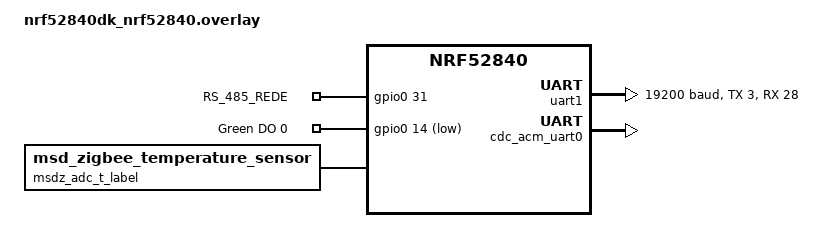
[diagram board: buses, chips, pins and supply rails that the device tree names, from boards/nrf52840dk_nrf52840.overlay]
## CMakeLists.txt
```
#
# Copyright (c) 2020 Nordic Semiconductor ASA
#
# SPDX-License-Identifier: LicenseRef-Nordic-5-Clause
#

cmake_minimum_required(VERSION 3.20.0)
#add_compile_definitions(ZB_DEV_REJOIN_TIMEOUT_MS=60000)
list(APPEND
  DTS_ROOT
  ${APPLICATION_SOURCE_DIR}
  ${BOARD_DIR}
  ${ZEPHYR_BASE}
  )

find_package(Zephyr REQUIRED HINTS $ENV{ZEPHYR_BASE})
project("Light Switch")

# NORDIC SDK APP START
FILE(GLOB app_sources src/*.c)
target_sources(app PRIVATE ${app_sources})
FILE(GLOB app_sources ../com_ws_src/*.c)
target_sources(app PRIVATE ${app_sources})
#zephyr_include_directories(src)
target_include_directories(app PRIVATE ../com_ws_src)
target_include_directories(app PRIVATE include)
target_include_directories(app PRIVATE src)
#target_include_directories(app PRIVATE ${ZEPHYR_BASE}/subsys/fs/nvs)
# NORDIC SDK APP END
```

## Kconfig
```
#
# Copyright (c) 2020 Nordic Semiconductor ASA
#
# SPDX-License-Identifier: LicenseRef-Nordic-5-Clause
#
config USB_DEVICE_PID
	default USB_PID_CDC_ACM_COMPOSITE_SAMPLE
	
menu "Zephyr Kernel"
source "Kconfig.zephyr"
endmenu

module = NUS_CMD
module-str = NUS command
source "${ZEPHYR_BASE}/subsys/logging/Kconfig.template.log_config"
```

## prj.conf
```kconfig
#
# Copyright (c) 2020 Nordic Semiconductor ASA
#
# SPDX-License-Identifier: LicenseRef-Nordic-5-Clause
#

CONFIG_NCS_SAMPLES_DEFAULTS=y

CONFIG_UART_INTERRUPT_DRIVEN=y
CONFIG_SERIAL=y
CONFIG_GPIO=y

# Make sure printk is not printing to the UART console
CONFIG_CONSOLE=n
CONFIG_UART_CONSOLE=n
CONFIG_USE_SEGGER_RTT=n
CONFIG_RTT_CONSOLE=n
CONFIG_LOG_BACKEND_RTT=n
CONFIG_LOG_BACKEND_UART=n

CONFIG_STDOUT_CONSOLE=n
CONFIG_LOG=n

CONFIG_HEAP_MEM_POOL_SIZE=4096

CONFIG_ZIGBEE=y
CONFIG_ZIGBEE_APP_UTILS=y
CONFIG_ZIGBEE_ROLE_END_DEVICE=y

# Enable DK LED and Buttons library
CONFIG_DK_LIBRARY=n

# This example requires more workqueue stack
CONFIG_SYSTEM_WORKQUEUE_STACK_SIZE=4096

# Enable nRF ECB driver
CONFIG_CRYPTO=y
CONFIG_CRYPTO_NRF_ECB=y
CONFIG_CRYPTO_INIT_PRIORITY=80

# Cryptocell is not supported through CSPRNG driver API: NCSDK-4813
CONFIG_ENTROPY_CC3XX=n

# Enable API for powering down unused RAM parts
CONFIG_RAM_POWER_DOWN_LIBRARY=y

#Networking
CONFIG_NET_IPV6_MLD=n
CONFIG_NET_IPV6_NBR_CACHE=n
CONFIG_NET_IPV6_RA_RDNSS=n
CONFIG_NET_IP_ADDR_CHECK=n
CONFIG_NET_UDP=n

#CONFIG_IEEE802154_NRF5_UICR_EUI64_ENABLE=y
#CONFIG_IEEE802154_NRF5_UICR_EUI64_REG=0

#Shell
#CONFIG_ZIGBEE_LOGGER_EP=n
#CONFIG_ZIGBEE_LOGGER_EP_LOG_LEVEL_INF=n
#CONFIG_ZIGBEE_SHELL=n
#CONFIG_ZIGBEE_SHELL_DEBUG_CMD=n

# USB project

CONFIG_NEWLIB_LIBC=y

CONFIG_SERIAL=y
CONFIG_UART_INTERRUPT_DRIVEN=y
CONFIG_UART_LINE_CTRL=n
CONFIG_UART_ASYNC_API=n

CONFIG_USB_DEVICE_STACK=y
CONFIG_USB_DEVICE_MANUFACTURER="PLUTON GROUP"
CONFIG_USB_DEVICE_PRODUCT="Temperature sensor"
CONFIG_USB_COMPOSITE_DEVICE=y
CONFIG_USB_CDC_ACM=y
CONFIG_USB_CDC_ACM_RINGBUF_SIZE=512

#CONFIG_USB_DEVICE_LOG_LEVEL_ERR=y
#CONFIG_USB_DRIVER_LOG_LEVEL_ERR=y

CONFIG_HWINFO_NRF=n

CONFIG_USB_MASS_STORAGE=y
#CONFIG_USB_MASS_STORAGE_LOG_LEVEL_ERR=y
CONFIG_MAIN_STACK_SIZE=1536

CONFIG_MASS_STORAGE_DISK_NAME="EMFAT"

#clock
CONFIG_CLOCK_CONTROL_NRF_K32SRC_SYNTH=y

#adc
CONFIG_ADC=y

#nvc
CONFIG_FLASH=y
CONFIG_FLASH_PAGE_LAYOUT=y

CONFIG_NVS=y
#CONFIG_NVS_LOG_LEVEL_DBG=n
CONFIG_REBOOT=y
CONFIG_MPU_ALLOW_FLASH_WRITE=y

#wdt
CONFIG_WATCHDOG=y
CONFIG_WDT_DISABLE_AT_BOOT=n
CONFIG_WDT_ITE_WARNING_LEADING_TIME_MS=5000
#CONFIG_WDT_LOG_LEVEL_DBG=y


CONFIG_THREAD_NAME=y

#PIN_RESET
CONFIG_GPIO_AS_PINRESET=n

#CPROTECT
CONFIG_NRF_APPROTECT_LOCK=n
```

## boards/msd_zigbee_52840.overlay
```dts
/*
 * Copyright (c) 2020 Nordic Semiconductor ASA
 *
 * SPDX-License-Identifier: LicenseRef-Nordic-5-Clause
 */

/ {
	chosen {
		zephyr,entropy = &rng;
	};

	msdz_adc_t_label: see_msdz_yaml{
		compatible =  "msd_zigbee_temperature_sensor";
		msdz-adc-t-id = <&adc>;
		msdz-adc-t-channels = <2>;
		msdz-adc-t-sequence = <0>;
	};

	aliases {
	msdz-adcs-t	= &msdz_adc_t_label;
	};
};

&zephyr_udc0 {
	cdc_acm_uart0 {
		compatible = "zephyr,cdc-acm-uart";
		label = "CDC_ACM_0";
	};
};
```

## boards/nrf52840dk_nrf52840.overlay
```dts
/*
 * Copyright (c) 2020 Nordic Semiconductor ASA
 *
 * SPDX-License-Identifier: LicenseRef-Nordic-5-Clause
 */

/ {
	chosen {
		zephyr,entropy = &rng;
	};

	msd_do {
		compatible = "gpio-keys";
		do_rs485rede: do_rs485_rede {
			gpios = <&gpio0 31 GPIO_ACTIVE_HIGH>;
			label = "RS_485_REDE";
		};
		do0: do_0 {
			gpios = <&gpio0 14 GPIO_ACTIVE_LOW>;
			label = "Green DO 0";
		};
	};

	msdz_adc_t_label: see_msdz_yaml{
		compatible =  "msd_zigbee_temperature_sensor";
		msdz-adc-t-id = <&adc>;
		msdz-adc-t-channels = <2>;
		msdz-adc-t-sequence = <0>;
	};

	aliases {
	uart-rs485 = &uart1;
	do-rs485rede = &do_rs485rede;
	do-0 = &do0;
	msdz-adcs-t	= &msdz_adc_t_label;
	};
};


&uart1 {
	current-speed = <19200>;
	tx-pin = <3>;
	rx-pin = <28>;
	rts-pin = <30>;
	cts-pin = <29>;
};

&zephyr_udc0 {
	cdc_acm_uart0 {
		compatible = "zephyr,cdc-acm-uart";
		label = "CDC_ACM_0";
	};
};
```

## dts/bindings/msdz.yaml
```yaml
description: MSDZ node
include: [base.yaml]

compatible: "msd_zigbee_temperature_sensor"

#child-binding:
properties:
    msdz-adc-t-id:
        type: phandle
        required: false
    msdz-adc-t-channels:
        type: array
        required: false
    msdz-adc-t-sequence:
        type: array
        required: false
```

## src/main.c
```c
/*
 * Copyright (c) 2020 Nordic Semiconductor ASA
 *
 * SPDX-License-Identifier: LicenseRef-Nordic-5-Clause
 */

/** @file
 * @brief Dimmer switch for HA profile implementation.
 */

#include <zephyr.h>
#include <device.h>
#include <logging/log.h>
#include <ram_pwrdn.h>
#include <sys/reboot.h>
#include <drivers/watchdog.h>

#include <zboss_api.h>
#include <zboss_api_addons.h>
#include <zigbee/zigbee_app_utils.h>
#include <zigbee/zigbee_error_handler.h>
#include <zb_nrf_platform.h>
#include "zb_mem_config_custom.h"

#include <drivers/uart.h>
#include <usb/usb_device.h>
#include "emfat.h"
#include "modbus_hard.h"

#include "main.h"
#include "io_adc.h"
#include "modbus_reg.h"
#include "modbus_x_macros.h"
#include "user_mem.h"
#include "measure_NTC.h"

#include <drivers/usb/usb_dc.h>

#define WDT_NODE DT_INST(0, nordic_nrf_watchdog)

#ifdef WDT_NODE
#define WDT_DEV_NAME DT_LABEL(WDT_NODE)
#endif
/* Do not erase NVRAM to save the network parameters after device reboot or
 * power-off. NOTE: If this option is set to ZB_TRUE then do full device erase
 * for all network devices before running other samples.
 */
#define ERASE_PERSISTENT_CONFIG    ZB_FALSE

#if !defined ZB_ED_ROLE
#error Define ZB_ED_ROLE to compile light switch (End Device) source code.
#endif

LOG_MODULE_REGISTER(app, LOG_LEVEL_INF);

//-----------------------------------------------------------------------
// Variables
//-----------------------------------------------------------------------
int wdt_channel_id;
const struct device *wdt;

extern emfat_t emfat;
extern emfat_entry_t entries[];
extern uint16_t ADC_Value_T[];
extern uint16_t MBbuf_main [];

static volatile uint16_t usb_state;

static zb_uint8_t  attr_zcl_version = ZB_ZCL_VERSION;
static zb_uint8_t  attr_power_source = ZB_ZCL_BASIC_POWER_SOURCE_UNKNOWN;
static zb_uint16_t attr_identify_time;

static uint16_t zigbee_conf_state_save=0;

zb_zcl_temp_measurement_attrs_t attr_temp_measurement;

//-----------------------------------------------------------------------
// Declare zigbee context
//-----------------------------------------------------------------------

ZB_ZCL_DECLARE_BASIC_ATTRIB_LIST(basic_attr_list, &attr_zcl_version,
				 &attr_power_source);

/* Declare attribute list for Identify cluster. */
ZB_ZCL_DECLARE_IDENTIFY_ATTRIB_LIST(identify_attr_list, &attr_identify_time);

ZB_ZCL_DECLARE_TEMP_MEASUREMENT_ATTRIB_LIST(temperature_attr_list, 
				&attr_temp_measurement.measure_value,
				&attr_temp_measurement.min_measure_value,
				&attr_temp_measurement.max_measure_value,
				&attr_temp_measurement.tolerance); 

ZB_HA_DECLARE_TEMPERATURE_SENSOR_CLUSTER_LIST(temperature_sensor_clusters,
					basic_attr_list,
					identify_attr_list,
					temperature_attr_list);

ZB_HA_DECLARE_TEMPERATURE_SENSOR_EP(temperature_sensor_ep,
                               TEMPERATURE_SENSOR_ENDPOINT,
                               temperature_sensor_clusters);

ZBOSS_DECLARE_DEVICE_CTX_1_EP(temperature_sensor_ctx, temperature_sensor_ep);

//-----------------------------------------------------------------------
// Define task
//-----------------------------------------------------------------------
 K_THREAD_DEFINE(com_task_id, MAIN_STACKSIZE, com_task, NULL, NULL, NULL, MAIN_PRIORITY , 0, 1000); 

//-----------------------------------------------------------------------
// Function
//-----------------------------------------------------------------------
uint16_t crc16_x25(uint8_t* pData, int length)
{
    uint32_t i;
    uint16_t wCrc = 0xffff;
    while (length--) 
	{
        wCrc ^= *(uint8_t *)pData++ << 0;
        for (i=0; i < 8; i++)
            wCrc = wCrc & 0x0001 ? (wCrc >> 1) ^ 0x8408 : wCrc >> 1;
    }
    return wCrc ^ 0xffff;
}

void address_and_code_init(void)
{   
	zb_ieee_addr_t ieee_addr;
    char ieee_addr_string[20];
	int i;
	zb_uint8_t     ic[ZB_CCM_KEY_SIZE + 2]; // +2 for CRC16
	uint16_t crc;

 	if(!(MBbuf_main[Reg_Zigbee_Set_Mode]&ZI_SET_MODE_BIT_SET_FICR_ADDR))
	{
	 	for(i=0;  i<8;  i++)
        { 
			*((uint8_t*)ieee_addr+i)=(uint8_t)(MBbuf_main[Reg_Zigbee_Addr_0_N_Panel+i]&0xFF) ;	
        }
		zb_set_long_address(ieee_addr); 
		ieee_addr_to_str(ieee_addr_string, 20, ieee_addr);
    	LOG_INF("addr: %s", ieee_addr_string);		
	}
	zb_osif_get_ieee_eui64(ieee_addr);
	for(i=0;  i<8;  i++)
    {
    	MBbuf_main[Reg_Zigbee_FICR_Addr_0+i]=*((uint8_t*)(ieee_addr+i))&0xFF;
    } 
    if ((MBbuf_main[Reg_Zigbee_Set_Mode]&ZI_SET_MODE_BIT_SET_CODE))
    {       
        for(i=0;  i<8;  i++)
        {
            ic[i*2]=(MBbuf_main[Reg_Zigbee_Code_0+i]>>8)&0xFF;
            ic[(i*2)+1]=MBbuf_main[Reg_Zigbee_Code_0+i]&0xFF;
        }     
        crc = crc16_x25(ic, ZB_CCM_KEY_SIZE);
        ic[ZB_CCM_KEY_SIZE]=(crc)&0xFF;
        ic[ZB_CCM_KEY_SIZE+1]=(crc>>8)&0xFF;
        zb_secur_ic_set(ZB_IC_TYPE_128,ic);          
    }   
}

void func_connect(zb_uint8_t param)
{
	user_input_indicate();
}

void func_reset_local(zb_uint8_t param)
{
	zigbee_conf_state_save = 0;	
	zb_bdb_reset_via_local_action(0U);
	user_input_indicate();
}

void func_erase(zb_uint8_t param)
{
	zb_nvram_erase();
	sys_reboot(SYS_REBOOT_COLD);
}

void Recon_timer_cb(zb_uint8_t param)
{
	LOG_INF("Recon_timer_cb---------------------------------------");
  	if(!ZB_JOINED())
  	{
		if((zigbee_conf_state_save) && (usb_state!=USB_DC_CONFIGURED))
		{  	
      		LOG_INF("Restart Zigbee");
			func_erase(0);
		}
		else
		{
      		LOG_INF("Reconnect Zigbee");
			func_connect(0);
		}	
  	} 
}

void zi_reboot(void)
{
	zb_ret_t zb_err_code;
	LOG_INF("zi_reboot");

	zb_err_code = ZB_SCHEDULE_APP_ALARM_CANCEL(Recon_timer_cb, ZB_ALARM_ALL_CB); 	
	ZB_ERROR_CHECK(zb_err_code); 
	zb_err_code = ZB_SCHEDULE_APP_ALARM(Recon_timer_cb, 0, ZB_MILLISECONDS_TO_BEACON_INTERVAL(DELAY_TOTAL_ZI_RECONNECT_MS));
  	ZB_ERROR_CHECK(zb_err_code);
}

void zigbee_status_update(zb_bufid_t bufid)
{
	zb_zdo_app_signal_hdr_t *p_sg_p = NULL;
	zb_zdo_app_signal_type_t sig = zb_get_app_signal(bufid, &p_sg_p);
	zb_ret_t status = ZB_GET_APP_SIGNAL_STATUS(bufid);

	switch (sig) 
	{
	case ZB_BDB_SIGNAL_DEVICE_REBOOT:
		/* fall-through */
		zigbee_conf_state_save = 1;
		LOG_INF("!!!!!!!!!!!!!!!!!!!!!!!!!!!!ZB_BDB_SIGNAL_DEVICE_REBOOT");
	case ZB_BDB_SIGNAL_STEERING:
		LOG_INF("_!_!_!_!_!_!_!_!_!_!_!_!_!_!_ZB_BDB_SIGNAL_STEERING");
		if (status == RET_OK) 
		{
			MBbuf_main[Reg_Zigbee_Connect_Status]=1;	
		} 
		else 
		{
			MBbuf_main[Reg_Zigbee_Connect_Status]=0;
		}
		zi_reboot();
		break;
	case ZB_ZDO_SIGNAL_LEAVE:
		/* Update network status LED */
		LOG_INF("ZB_ZDO_SIGNAL_LEAVE");
		zigbee_conf_state_save=1;
		zi_reboot();
		MBbuf_main[Reg_Zigbee_Connect_Status]=0;
		break;
	default:
		break;
	}
}

void command_control(void)
{
    if(MBbuf_main[Reg_Send_Command])
    {
        switch (MBbuf_main[Reg_Send_Command])
        {
        case CODE_CONNECT_BUTTON:
              user_input_indicate();
              break;
        case CODE_RESET_ZIGBEE_DATA:         
              zb_bdb_reset_via_local_action(0U);
              break;
        case CODE_RESTART:
              sys_reboot(SYS_REBOOT_COLD);
              break; 
        case CODE_RESET_TO_DEFAULT:
              mh_Factory();
              break;
        case CODE_HARD_RESET_STACK:
              zb_nvram_erase();             
              sys_reboot(SYS_REBOOT_COLD);
              break;
        default:
              break;
        }
    	MBbuf_main[Reg_Send_Command]=0;
    }
}

/** Function to disable pin reset by writing an invalid configuration (all 0) to PSELRESET[1] */
/*static void disable_pin_reset_and_block(void)
//{
    // Only perform if needed (which is the first time this code runs)
    if (NRF_UICR->PSELRESET[1] != 0)
    {
    NRF_NVMC->CONFIG = NVMC_CONFIG_WEN_Wen;
    while (NRF_NVMC->READY == NVMC_READY_READY_Busy){}

    NRF_UICR->PSELRESET[1] = 0;

    NRF_NVMC->CONFIG = NVMC_CONFIG_WEN_Ren;
    while (NRF_NVMC->READY == NVMC_READY_READY_Busy){}
    NVIC_SystemReset();
    }
	 if (NRF_UICR->APPROTECT == 0xFFFFFFFF)
    {

	NRF_NVMC->CONFIG = NVMC_CONFIG_WEN_Wen;
    while (NRF_NVMC->READY == NVMC_READY_READY_Busy){}  

    NRF_UICR->APPROTECT= 0xFFFFFF00;   
	NRF_NVMC->CONFIG = NVMC_CONFIG_WEN_Ren;
    while (NRF_NVMC->READY == NVMC_READY_READY_Busy){}     
    NVIC_SystemReset();
    }
}
*/

//-----------------------------------------------------------------------
// Callback function
//-----------------------------------------------------------------------
/**@brief Zigbee stack event handler.
 *
 * @param[in]   bufid   Reference to the Zigbee stack buffer
 *                      used to pass signal.
 */
void zboss_signal_handler(zb_bufid_t bufid)
{
	zb_zdo_app_signal_hdr_t    *sig_hndler = NULL;
	zb_zdo_app_signal_type_t    sig = zb_get_app_signal(bufid, &sig_hndler);
	//zb_ret_t                    status = ZB_GET_APP_SIGNAL_STATUS(bufid);
	//zb_address_ieee_ref_t addr_ref;

	zigbee_status_update(bufid);

	switch (sig) 
	{
	case ZB_BDB_SIGNAL_DEVICE_REBOOT:
		/* fall-through */
	case ZB_BDB_SIGNAL_STEERING:
		/* Call default signal handler. */
		ZB_ERROR_CHECK(zigbee_default_signal_handler(bufid));
		break;
	default:
		/* Call default signal handler. */
		ZB_ERROR_CHECK(zigbee_default_signal_handler(bufid));
		break;
	}
	if (bufid) 
	{
		zb_buf_free(bufid);
	}
}

void usb_cb(enum usb_dc_status_code cb_status,
				       const uint8_t *param){
usb_state = cb_status;                          
}

//-----------------------------------------------------------------------
// Task function
//-----------------------------------------------------------------------
void com_task (void *arg1, void *arg2, void *arg3)
{
	int err;
	zb_zcl_status_t zcl_status;
	zb_int16_t value_temp;
	wdt = device_get_binding(WDT_DEV_NAME);
	if (!wdt) 
	{
		LOG_INF("Cannot get WDT device\n");
		return;
	}

	struct wdt_timeout_cfg wdt_config = 
	{
		/* Reset SoC when watchdog timer expires. */
		.flags = WDT_FLAG_RESET_SOC,

		/* Expire watchdog after max window */
		.window.min = 0U,
		.window.max = WDT_MAX_WINDOW,
	};

	wdt_channel_id = wdt_install_timeout(wdt, &wdt_config);
	if (wdt_channel_id == -ENOTSUP) 
	{
		/* IWDG driver for STM32 doesn't support callback */
		printk("Callback support rejected, continuing anyway\n");
		wdt_config.callback = NULL;
		wdt_channel_id = wdt_install_timeout(wdt, &wdt_config);
	}
	if (wdt_channel_id < 0) 
	{
		printk("Watchdog install error\n");
		return;
	}
	err = wdt_setup(wdt, WDT_OPT_PAUSE_HALTED_BY_DBG);
	if (err < 0) 
	{
		printk("Watchdog setup error\n");
		return;
	}
	wdt_feed(wdt, wdt_channel_id);
	while(1)
	{
		wdt_feed(wdt, wdt_channel_id);		
		k_sleep(K_MSEC(3000));
		/* Get new temperature measured value */	
		if ((ADC_Value_T[0] & TEMPERATURE_ERROR_MASK)!=TEMPERATURE_ERROR_LABEL)
		{
			value_temp = ADC_Value_T[0]*100;
		}
		else
		{
			value_temp = ADC_Value_T[0];
		}
    	zcl_status = zb_zcl_set_attr_val(TEMPERATURE_SENSOR_ENDPOINT, 
                                   	 	ZB_ZCL_CLUSTER_ID_TEMP_MEASUREMENT, 
                                    	ZB_ZCL_CLUSTER_SERVER_ROLE, 
                                    	ZB_ZCL_ATTR_TEMP_MEASUREMENT_VALUE_ID, 
                                    	(zb_int8_t *)&value_temp, 
                                    	ZB_FALSE);     	
		command_control();
	}
}

//-----------------------------------------------------------------------
// Main function
//-----------------------------------------------------------------------
void main(void)
{

#ifdef ENABLE_APPROTECT
	if ((NRF_UICR->APPROTECT & UICR_APPROTECT_PALL_Msk) !=
		(UICR_APPROTECT_PALL_Enabled << UICR_APPROTECT_PALL_Pos)) {

        NRF_NVMC->CONFIG = NVMC_CONFIG_WEN_Wen;
        while (NRF_NVMC->READY == NVMC_READY_READY_Busy){}

        NRF_UICR->APPROTECT = ((NRF_UICR->APPROTECT & ~((uint32_t)UICR_APPROTECT_PALL_Msk)) |
		    (UICR_APPROTECT_PALL_Enabled << UICR_APPROTECT_PALL_Pos));

        NRF_NVMC->CONFIG = NVMC_CONFIG_WEN_Ren;
        while (NRF_NVMC->READY == NVMC_READY_READY_Busy){}
   	}
#else
	if ((NRF_UICR->APPROTECT & UICR_APPROTECT_PALL_Msk) !=
		(UICR_APPROTECT_PALL_Disabled << UICR_APPROTECT_PALL_Pos)) {

        NRF_NVMC->CONFIG = NVMC_CONFIG_WEN_Wen;
        while (NRF_NVMC->READY == NVMC_READY_READY_Busy){}

        NRF_UICR->APPROTECT = ((NRF_UICR->APPROTECT & ~((uint32_t)UICR_APPROTECT_PALL_Msk)) |
		    (UICR_APPROTECT_PALL_Disabled << UICR_APPROTECT_PALL_Pos));

        NRF_NVMC->CONFIG = NVMC_CONFIG_WEN_Ren;
        while (NRF_NVMC->READY == NVMC_READY_READY_Busy){}
	}
#endif
	int ret;
	LOG_INF("started");

	NRF_POWER->DCDCEN = 0x01;  

	emfat_init(&emfat, "Sensor", entries);
    user_mem_init();
    mh_Buf_Init();
	mh_usb_init();

	ret = usb_enable(usb_cb);
	if (ret != 0) 
	{
		LOG_ERR("Failed to enable USB");
		return;
	}

	io_adc_init();
	k_sleep(K_MSEC(2000));

	attr_temp_measurement.measure_value = TEMPERATURE_NO_MEASURE;

	zigbee_erase_persistent_storage(ERASE_PERSISTENT_CONFIG);
	zb_set_ed_timeout(MBbuf_main[Reg_Zigbee_Timeout]);
	zb_set_keepalive_timeout(ZB_MILLISECONDS_TO_BEACON_INTERVAL(10000));

	address_and_code_init();

	zb_set_network_ed_role( (1UL << (MBbuf_main[Reg_Zigbee_Set_Channel]))) ;
	//if(usb_state!=USB_DC_CONFIGURED)
	//{
		zigbee_configure_sleepy_behavior(true);
		//if (IS_ENABLED(CONFIG_RAM_POWER_DOWN_LIBRARY))
		//{
			//power_down_unused_ram();
		//}
	//}
	/* Register dimmer switch device context (endpoints). */
	ZB_AF_REGISTER_DEVICE_CTX(&temperature_sensor_ctx);

	if (usb_state!=USB_DC_CONFIGURED)
	{	
		//usb_disable();	
		k_busy_wait ( DELAY_FOR_POWER_TEST_MS*1000 ); 
		k_sleep(K_SECONDS(MBbuf_main[Reg_Zigbee_Wait_Time_S]));
		k_sleep(K_MSEC(DELAY_AFTER_POWER_TEST_MS+\
						  (TIME_BETWEEN_NEXT_CONNECTION_MS * MBbuf_main[Reg_Zigbee_Addr_1_N_Sens_Point])+\
						  (TIME_BETWEEN_NEXT_CONNECTION_MS * MAX_SENSOR_IN_ROUTER * MBbuf_main[Reg_Zigbee_Addr_0_N_Panel])));
	}
	zigbee_enable();

	while (1) 
	{
		k_sleep(K_FOREVER);
	}	
}
```

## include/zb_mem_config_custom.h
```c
/*
 * Copyright (c) 2020 Nordic Semiconductor ASA
 *
 * SPDX-License-Identifier: LicenseRef-Nordic-5-Clause
 */

#ifndef ZB_MEM_CONFIG_CUSTOM_H
#define ZB_MEM_CONFIG_CUSTOM_H 1


#define ZB_CONFIG_ROLE_ZED
#define ZB_CONFIG_OVERALL_NETWORK_SIZE 16

/**
 * Light routing and application traffic from/to that device.
 */
#define ZB_CONFIG_HIGH_TRAFFIC

/**
 * Simple user's application at that device: not too many relations
 * to other devices.
 */
#define ZB_CONFIG_APPLICATION_SIMPLE

/**
 * The below section is for advanced users.
 * Before modifying any values, please make sure you fully understand the
 * impact, for example by reading zb_mem_config_common.h
 */
#include "zb_mem_config_common.h"

/**
 * Now if you REALLY know what you do, you can study zb_mem_config_common.h
 * and redefine some configuration parameters, like:
 */
#undef ZB_CONFIG_SCHEDULER_Q_SIZE
#define ZB_CONFIG_SCHEDULER_Q_SIZE 24

/**
 * Increase OTA transfer time by extending the APS duplicate rejection table.
 * This value must be less than the amount of possible APS counter values (256).
 */
#undef ZB_CONFIG_APS_DUPS_TABLE_SIZE
#define ZB_CONFIG_APS_DUPS_TABLE_SIZE 64

/* Memory context definitions. */
#include "zb_mem_config_context.h"

#endif /* ZB_MEM_CONFIG_CUSTOM_H */
```

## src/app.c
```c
#include "stdlib.h"
#include "emfat.h"
#include "main.h"

#define README_SIZE  	256		//including string length itoa "Version_MSD_2"
#define INDEX_SIZE		256
#define TEST_SIZE		1367


const char readme_file[] =
	"Firmware version ";


const char index_file [] =
		"<html><head><meta http-equiv=\"refresh\" content=\"0; url=https://plutongroup.github.io/MSD_Zigbee/\"/><title>MSD_Zigbee Shortcut</title></head><body></body></html>";


const char test_file[TEST_SIZE] =  {
	0x52, 0x61, 0x72, 0x21, 0x1A, 0x07, 0x01, 0x00, 0xF3, 0xE1, 0x82, 0xEB, 0x0B, 0x01, 0x05, 0x07, 
	0x00, 0x06, 0x01, 0x01, 0x80, 0x80, 0x80, 0x00, 0x9F, 0xB9, 0xAA, 0x21, 0x34, 0x02, 0x03, 0x0B, 
	0xFE, 0x89, 0x00, 0x04, 0xC8, 0xFF, 0x01, 0x20, 0x69, 0x82, 0xE6, 0x25, 0x80, 0x03, 0x00, 0x16, 
	0x53, 0x65, 0x6E, 0x73, 0x6F, 0x72, 0x5F, 0x52, 0x6F, 0x75, 0x74, 0x65, 0x72, 0x5F, 0x31, 0x5F, 
	0x30, 0x31, 0x2E, 0x6D, 0x62, 0x70, 0x0A, 0x03, 0x02, 0x85, 0xDB, 0xF8, 0xC6, 0xCC, 0x71, 0xD8, 
	0x01, 0xCC, 0x68, 0xFA, 0x04, 0x30, 0x75, 0x43, 0x43, 0x33, 0x3F, 0x36, 0x04, 0x7C, 0x4D, 0x27, 
	0xF0, 0x91, 0xFC, 0x23, 0xB2, 0xB6, 0xC4, 0xE1, 0x45, 0x0C, 0x09, 0x45, 0xE5, 0x22, 0x4B, 0x75, 
	0x6E, 0xA7, 0x1D, 0xF8, 0x00, 0xDC, 0x6E, 0xB9, 0x68, 0x0F, 0xE1, 0x43, 0x6A, 0xCB, 0x2C, 0x80, 
	0x57, 0x1C, 0x89, 0x49, 0x58, 0xAD, 0xA8, 0xC3, 0x49, 0xD0, 0xEF, 0x39, 0xCE, 0xCE, 0x34, 0x09, 
	0xD2, 0xFF, 0x0D, 0x79, 0x5E, 0x97, 0x9D, 0x17, 0xAB, 0xE1, 0x79, 0x5F, 0xE0, 0x2D, 0xE3, 0x45, 
	0xE7, 0x78, 0xD1, 0x45, 0xE1, 0x45, 0xD1, 0x84, 0xEA, 0x38, 0x49, 0xDD, 0x7A, 0x9A, 0x4A, 0x36, 
	0x93, 0x01, 0x42, 0xAD, 0xA1, 0xD7, 0xC6, 0x71, 0x93, 0x48, 0x2F, 0x4E, 0xE1, 0x38, 0x77, 0xD9, 
	0x84, 0x9C, 0xC2, 0x4E, 0xAD, 0xD7, 0xFC, 0xC1, 0x1E, 0x18, 0x7F, 0x0F, 0x0F, 0x0F, 0x0F, 0x7B, 
	0xF6, 0x9C, 0x3F, 0x2D, 0x27, 0x81, 0xD2, 0x46, 0x9C, 0x1A, 0x37, 0xF8, 0x49, 0xDE, 0xB0, 0x07, 
	0x6C, 0x11, 0xC4, 0x70, 0x33, 0x6E, 0x81, 0xB7, 0x91, 0xE0, 0x89, 0xF1, 0x58, 0xA7, 0xF8, 0x91, 
	0x8F, 0xD5, 0x1E, 0xC2, 0x6A, 0xA8, 0xBB, 0xFE, 0xD5, 0xD7, 0x0B, 0x13, 0xCB, 0x9E, 0x73, 0x0E, 
	0x2F, 0x37, 0xF9, 0xAF, 0x19, 0x78, 0x4F, 0x07, 0xED, 0x7E, 0xFB, 0xDF, 0xDB, 0xD8, 0x1D, 0x70, 
	0xA0, 0x1B, 0x61, 0x48, 0x35, 0xC3, 0xC0, 0x14, 0x43, 0x54, 0x3B, 0x01, 0x24, 0xE2, 0x21, 0xF5, 
	0xBE, 0x7F, 0x05, 0x55, 0xAA, 0xA6, 0xF1, 0xC6, 0x57, 0x25, 0x7F, 0x75, 0x08, 0xCE, 0xF9, 0x1A, 
	0x7D, 0x63, 0x87, 0xC0, 0x1E, 0xF2, 0xA6, 0x3C, 0x5C, 0x1A, 0xF7, 0xDB, 0xDA, 0xD0, 0x57, 0x3F, 
	0xC7, 0x7A, 0xF7, 0x2A, 0x33, 0xF4, 0xF8, 0xAD, 0x41, 0x4C, 0x29, 0xC0, 0xD0, 0x4A, 0x09, 0xC5, 
	0xDD, 0x6C, 0x86, 0xD2, 0x86, 0x6B, 0x05, 0x30, 0xDC, 0x2E, 0x74, 0x2D, 0xA8, 0xB3, 0xC6, 0xCA, 
	0xBA, 0x32, 0x6D, 0x95, 0x09, 0x30, 0x5C, 0x17, 0x46, 0x68, 0xE4, 0x0F, 0x50, 0x72, 0x4C, 0xF2, 
	0x8E, 0x4D, 0x6D, 0x2D, 0x97, 0x0B, 0x68, 0x5B, 0x19, 0x82, 0xE0, 0xBA, 0x2C, 0x93, 0x7E, 0xB2, 
	0x41, 0x5C, 0xCC, 0xD2, 0xEC, 0x6A, 0x97, 0x77, 0x4D, 0x79, 0x8F, 0xD4, 0x99, 0x51, 0x76, 0x91, 
	0xB8, 0x76, 0x56, 0x78, 0xEF, 0x53, 0xB2, 0x1A, 0xE7, 0x33, 0x13, 0xA0, 0xB5, 0x17, 0xCE, 0xE9, 
	0x0A, 0x70, 0x07, 0xD2, 0x88, 0x15, 0xA0, 0xE9, 0x94, 0xCD, 0x55, 0x17, 0xFD, 0x25, 0xEA, 0x71, 
	0x60, 0xAE, 0x54, 0xC1, 0x50, 0xB1, 0x7A, 0x82, 0x71, 0x42, 0x25, 0xD1, 0x64, 0x85, 0xDC, 0xD3, 
	0x76, 0xEF, 0x14, 0x3F, 0xDB, 0x5B, 0x7B, 0xC3, 0x65, 0x36, 0x7D, 0xD9, 0x81, 0x5F, 0x13, 0x65, 
	0x4F, 0x7C, 0x26, 0xBE, 0x6D, 0x50, 0xE9, 0xC2, 0xB7, 0xDD, 0xD8, 0x26, 0xFD, 0x94, 0xB6, 0x63, 
	0xB5, 0x07, 0xD2, 0x9B, 0x8F, 0xDD, 0x0D, 0x38, 0x0A, 0xAC, 0xFC, 0x76, 0x41, 0x3A, 0x15, 0x05, 
	0x9C, 0xCD, 0x4B, 0x75, 0xEB, 0x1E, 0x33, 0x0E, 0x66, 0x94, 0xCF, 0x78, 0x88, 0xEE, 0x06, 0xC1, 
	0xC5, 0x97, 0x70, 0xC2, 0xCF, 0x93, 0x49, 0xB6, 0xFC, 0xDD, 0x34, 0x59, 0xE7, 0x05, 0xC7, 0x55, 
	0xE1, 0x34, 0x51, 0xD0, 0x85, 0x63, 0x96, 0x43, 0xA8, 0x2B, 0x9C, 0x50, 0x94, 0x97, 0x6A, 0x5C, 
	0xCF, 0x71, 0x6E, 0xE0, 0x95, 0x6C, 0xB4, 0x28, 0x49, 0x4B, 0x6C, 0xB3, 0x28, 0xA6, 0xCD, 0xF2, 
	0xBA, 0xDB, 0xF6, 0x44, 0x41, 0x08, 0x97, 0xD5, 0x45, 0xEC, 0xA7, 0x02, 0x37, 0x3C, 0x8A, 0x96, 
	0xE6, 0x5C, 0xF5, 0xB1, 0x55, 0x15, 0x22, 0xD2, 0x94, 0x9D, 0x5A, 0x55, 0xB8, 0xB4, 0xDA, 0x64, 
	0x83, 0x94, 0x9B, 0xF7, 0xA2, 0x11, 0xAA, 0xA4, 0x72, 0x0A, 0xBD, 0x54, 0x55, 0x97, 0x55, 0xE6, 
	0xCD, 0xFB, 0x18, 0x86, 0x68, 0xAA, 0x6D, 0xC3, 0x6F, 0x29, 0x8C, 0xB1, 0xCF, 0x85, 0x43, 0x74, 
	0x51, 0x6A, 0x91, 0x1E, 0xFD, 0xC5, 0x0F, 0x32, 0x41, 0x52, 0x74, 0xD1, 0x7A, 0x1C, 0x46, 0xE0, 
	0xE7, 0x53, 0x82, 0x09, 0xDA, 0xE7, 0xA6, 0xF9, 0xC4, 0xB1, 0xC0, 0xD3, 0x59, 0x21, 0xD2, 0x46, 
	0xB7, 0x5F, 0x2A, 0xF0, 0x43, 0x45, 0xD7, 0x25, 0x18, 0x18, 0x7E, 0x8B, 0x05, 0xE4, 0x1B, 0xC8, 
	0x7C, 0x9A, 0xBC, 0x0D, 0x69, 0x2E, 0xF6, 0xB9, 0xF6, 0x45, 0x2D, 0x34, 0xD5, 0x7B, 0xE9, 0xBA, 
	0x32, 0x60, 0xCF, 0x9D, 0x7A, 0x71, 0xA0, 0x13, 0x6A, 0x16, 0x16, 0xA5, 0x02, 0x77, 0x44, 0xA8, 
	0x49, 0x24, 0x7B, 0x52, 0x04, 0xF2, 0xFA, 0xDB, 0x34, 0x0F, 0xD7, 0xB9, 0x16, 0x7C, 0x94, 0x7B, 
	0x4A, 0xA4, 0xD9, 0x0C, 0xA6, 0xB0, 0x6A, 0x93, 0xD9, 0x68, 0xB6, 0x93, 0xD3, 0x82, 0xB4, 0x8A, 
	0x0C, 0x88, 0xAF, 0xB0, 0xAC, 0xB2, 0x95, 0x61, 0xA0, 0xCE, 0x5C, 0xAB, 0x1E, 0xCE, 0x20, 0x7B, 
	0x31, 0x17, 0xA2, 0x54, 0x3A, 0xDF, 0xCA, 0x7F, 0x22, 0xB1, 0xF1, 0x66, 0x0C, 0x88, 0x6D, 0xAE, 
	0xC3, 0x27, 0xA7, 0x61, 0xF3, 0x82, 0xDA, 0xB1, 0x0B, 0x93, 0x76, 0x6E, 0x26, 0xFD, 0x90, 0x6B, 
	0x1D, 0x91, 0x50, 0x62, 0x99, 0xB7, 0xF3, 0x76, 0xF9, 0x03, 0x59, 0x79, 0x95, 0x6C, 0x2F, 0x61, 
	0xF8, 0x94, 0x73, 0x76, 0xD7, 0x6C, 0x5D, 0x98, 0x3B, 0xD0, 0xAF, 0xEC, 0x9B, 0x26, 0xE0, 0xAB, 
	0x52, 0x71, 0x73, 0xD9, 0x22, 0xE8, 0x93, 0x49, 0x53, 0xB6, 0x04, 0x10, 0x79, 0x65, 0x86, 0x60, 
	0x68, 0x10, 0xAE, 0xEA, 0xD7, 0xC3, 0xAD, 0x85, 0xE0, 0xC6, 0x4B, 0x52, 0xAC, 0x68, 0x2F, 0xC1, 
	0x60, 0x16, 0xA9, 0xE6, 0xA5, 0xE4, 0x1E, 0x6E, 0xC9, 0x43, 0x52, 0x64, 0xDB, 0x4B, 0xA1, 0x17, 
	0x11, 0xB8, 0x61, 0xE4, 0x67, 0x0D, 0xFE, 0x05, 0x04, 0xDF, 0x2C, 0xDD, 0xAF, 0xB8, 0x75, 0xAC, 
	0x04, 0x4F, 0x1C, 0xCD, 0x63, 0xCE, 0x79, 0xAE, 0x70, 0x06, 0x99, 0x4C, 0x74, 0xE2, 0x23, 0x39, 
	0x67, 0x63, 0x77, 0x2A, 0x10, 0xAB, 0x2B, 0x3D, 0x2B, 0xF8, 0x34, 0xA6, 0xDF, 0xD4, 0x3C, 0x89, 
	0x32, 0xEE, 0x1C, 0x4D, 0xA1, 0x6C, 0x66, 0x0B, 0x82, 0xE8, 0xCD, 0x33, 0xA3, 0x85, 0x13, 0xC8, 
	0xE4, 0x2D, 0xCE, 0x59, 0x7B, 0x43, 0x30, 0xA2, 0xB9, 0xAE, 0xA8, 0x68, 0xAF, 0x76, 0x79, 0x5B, 
	0x5A, 0xD9, 0x11, 0x6F, 0x4E, 0x2B, 0x9D, 0x1D, 0xA0, 0xD2, 0xCD, 0x23, 0x7E, 0x04, 0xF8, 0x27, 
	0xA9, 0x9D, 0xE5, 0x79, 0x6F, 0x9D, 0x0A, 0xD7, 0x0E, 0x98, 0x67, 0xEB, 0x82, 0xE8, 0xCD, 0x1E, 
	0x4E, 0x9C, 0xBE, 0xBC, 0xDF, 0xD9, 0x7D, 0x2D, 0xF7, 0xEB, 0x42, 0xD8, 0xCC, 0x17, 0x05, 0xD1, 
	0x9A, 0x3C, 0x9D, 0x38, 0x8B, 0xED, 0x14, 0x79, 0x9C, 0xCC, 0x4F, 0x9F, 0xEB, 0x76, 0xD9, 0xB1, 
	0x2C, 0x31, 0x3E, 0x24, 0x76, 0x0B, 0x8B, 0x45, 0x19, 0x7E, 0x6A, 0x11, 0xFA, 0xB3, 0xB5, 0xC3, 
	0xE6, 0xB9, 0x34, 0xBD, 0xE4, 0x4C, 0xBB, 0x85, 0x2F, 0x75, 0x59, 0x26, 0x12, 0x84, 0x36, 0x73, 
	0x26, 0xF4, 0x58, 0xB0, 0x87, 0x6A, 0x41, 0xFB, 0x2D, 0x79, 0x67, 0xF3, 0xA1, 0x66, 0x0E, 0xE2, 
	0x1A, 0xAA, 0x04, 0x3F, 0x5C, 0x48, 0xE6, 0x31, 0xA4, 0x7A, 0x8B, 0x61, 0x03, 0xA4, 0x74, 0xF7, 
	0x0D, 0x18, 0x51, 0x19, 0x21, 0xEA, 0xFA, 0xE6, 0x8E, 0xFA, 0x79, 0x00, 0xA6, 0x5F, 0x92, 0x24, 
	0xB0, 0xF6, 0xC3, 0xB0, 0x1F, 0x61, 0x25, 0xCC, 0x83, 0x1B, 0x73, 0xAA, 0xFC, 0xB5, 0x1A, 0xAB, 
	0xF5, 0x73, 0xD0, 0x32, 0x28, 0x58, 0x22, 0x7C, 0x58, 0x75, 0xCA, 0xF9, 0x7E, 0x81, 0xC4, 0x7C, 
	0x1B, 0x1A, 0xB5, 0xAB, 0x0B, 0xE0, 0xA3, 0xE3, 0x07, 0x26, 0x1B, 0x45, 0xC1, 0x74, 0x66, 0x8E, 
	0x40, 0xF5, 0x07, 0x24, 0xDE, 0x65, 0x7B, 0xCC, 0xF8, 0xD1, 0xD6, 0x8D, 0xA6, 0xD8, 0xCC, 0x17, 
	0x05, 0xD1, 0xB5, 0xAE, 0xDD, 0x6B, 0x19, 0x5B, 0xED, 0xC3, 0xE3, 0x15, 0x3D, 0x23, 0x5D, 0xA0, 
	0x19, 0xE1, 0x7D, 0xB4, 0x1B, 0xBE, 0x46, 0x09, 0x6B, 0xFE, 0x35, 0x76, 0xBE, 0xBA, 0x22, 0xB7, 
	0x43, 0x9C, 0x1E, 0xD2, 0xA8, 0x93, 0x1C, 0x22, 0xF8, 0xFB, 0xD8, 0xF1, 0x7E, 0x43, 0xE7, 0xA3, 
	0x56, 0x7C, 0x88, 0xB9, 0x61, 0xF7, 0x87, 0xF4, 0x1F, 0x70, 0x7D, 0x28, 0x5A, 0xBF, 0x00, 0xFD, 
	0xCF, 0x04, 0x1D, 0x9E, 0x52, 0x51, 0xD3, 0xD6, 0x0D, 0xE2, 0x2B, 0xDA, 0x5F, 0x65, 0x1A, 0x44, 
	0x7B, 0xCB, 0xBB, 0xEB, 0xDE, 0x6F, 0x33, 0x02, 0xFF, 0x0B, 0x07, 0xD2, 0xE7, 0x05, 0x87, 0x89, 
	0x1B, 0x40, 0x6C, 0xFF, 0xC9, 0xEF, 0xDB, 0x29, 0xFB, 0x3E, 0x2C, 0xAA, 0xF2, 0x47, 0x9A, 0x9E, 
	0x87, 0x9F, 0x53, 0x41, 0xEF, 0xFD, 0xEE, 0x11, 0xBD, 0xEA, 0xDC, 0x47, 0xD1, 0xF7, 0x8F, 0xA1, 
	0xAF, 0x1F, 0xD6, 0x3A, 0xFD, 0x55, 0xF4, 0x4E, 0x3A, 0x4A, 0xFF, 0xEA, 0x48, 0xE3, 0xA8, 0x52, 
	0x3F, 0x97, 0x9E, 0x7B, 0xF3, 0x28, 0xF4, 0x5F, 0x3E, 0x81, 0xE8, 0xDE, 0x99, 0x7D, 0x51, 0xE2, 
	0x19, 0x80, 0x63, 0x10, 0x7B, 0x72, 0x0C, 0xBC, 0x77, 0x83, 0xF1, 0xE2, 0xAF, 0x9E, 0xF6, 0x08, 
	0xFA, 0xB7, 0x66, 0x58, 0x72, 0x2A, 0x34, 0x93, 0x1D, 0x78, 0x25, 0xFE, 0x80, 0x7D, 0xE2, 0x78, 
	0xF5, 0xE0, 0x43, 0x48, 0x8A, 0x82, 0x4F, 0x5D, 0x4C, 0x44, 0xA0, 0x86, 0x8A, 0xB2, 0x80, 0x1D, 
	0x77, 0x56, 0x51, 0x03, 0x05, 0x04, 0x00
};

// FAT32
emfat_t emfat;

//callback 
//void autorun_read_proc(uint8_t *dest, int size, uint32_t offset, size_t userdata);
//void icon_read_proc(uint8_t *dest, int size, uint32_t offset, size_t userdata);
void readme_read_proc(uint8_t *dest, int size, uint32_t offset, size_t userdata);
void index_read_proc(uint8_t *dest, int size, uint32_t offset, size_t userdata);
void test_read_proc(uint8_t *dest, int size, uint32_t offset, size_t userdata);
void drivers_read_proc(uint8_t *dest, int size, uint32_t offset, size_t userdata);

#define CMA_TIME EMFAT_ENCODE_CMA_TIME(9,8,2020, 13,0,0)
#define CMA { CMA_TIME, CMA_TIME, CMA_TIME }

// data table
 volatile emfat_entry_t entries[] =
{
	// name          dir    lvl offset  size             max_size        user  time  read               write
	{ "",            true,  0,  0,      0,               0,              0,    CMA,  NULL,              NULL }, // root
	{ "index.htm",   false, 1,  0,      INDEX_SIZE,      INDEX_SIZE,     0,    CMA,  index_read_proc,   NULL }, // index.html
	{ "readme.txt",  false, 1,  0,      README_SIZE,     README_SIZE,    0,    CMA,  readme_read_proc,  NULL }, // readme.txt
	{ "test.zip",  	 false, 1,  0,      TEST_SIZE,       TEST_SIZE,      0,    CMA,  test_read_proc,    NULL }, // test.rar
	{ NULL }
};
/*
static emfat_entry_t entries[] =
{
	// name          dir    lvl offset  size             max_size        user  read               write
	{ "",            true,  0,  0,      0,               0,              0,    NULL,              NULL }, // root
	{ "autorun.inf", false, 1,  0,      AUTORUN_SIZE,    1*1024*1024*1024,   0,    autorun_read_proc, NULL }, // autorun.inf
	{ "icon.ico",    false, 1,  0,      ICON_SIZE,       1*1024*1024*1024,      0,    icon_read_proc,    NULL }, // icon.ico
	{ "drivers",     true,  1,  0,      0,               0,              0,    NULL,              NULL }, // drivers/
	{ "readme.txt",  false, 2,  0,      README_SIZE,     1*1024*1024*1024,    0,    readme_read_proc,  NULL }, // drivers/readme.txt
	{ "abc.txt",  false, 2,  0,      README_SIZE,     1*1024*1024*1024-32768+8192,    0,    readme_read_proc,  NULL }, // drivers/readme.txt
	{ NULL }
};
*/

 void test_read_proc(uint8_t *dest, int size, uint32_t offset, size_t userdata)
 {
 	int len = 0;
 	if (offset > TEST_SIZE) return;
 	if (offset + size > TEST_SIZE)
 		len = TEST_SIZE - offset; else
 		len = size;
 	memcpy(dest, &test_file[offset], len);
 }

void readme_read_proc(uint8_t *dest, int size, uint32_t offset, size_t userdata)
{
	int32_t end=0, cur, len = 0;
	int32_t Len_String;
	if (offset > README_SIZE) return;
	if (offset + size > README_SIZE)
		len = README_SIZE - offset; else
		len = size;
	char ver_s[8];
	__itoa (VERSION, ver_s, 10);
	end = strlen(&ver_s[0]);
	Len_String = strlen(&readme_file[0]);
	for (uint32_t i = 0; i < len; i++)
	{
		if ((offset+i) < Len_String)
		{
			dest[i]	= readme_file[offset+i];
		}
		else
		{
			cur = (offset+i) - Len_String;
			if (cur<(1+end))
			{
				if(cur==(1))
				{
					dest[i]	= '.';
				}
				else if(cur>(1))
				{
					dest[i]	= ver_s[cur-1];
				}
				else
				{
					dest[i]	= ver_s[cur];
				}
			}
			else
			{
				dest[i]=' ';
			}
		}
	}
}

void index_read_proc(uint8_t *dest, int size, uint32_t offset, size_t userdata)
{
	int32_t Len_String;
	int len = 0;
	if (offset > INDEX_SIZE) return;
	if (offset + size > INDEX_SIZE)
		len = INDEX_SIZE - offset; else
		len = size;

	Len_String = strlen(&index_file[0]);
	for (uint32_t i = 0; i < len; i++)
	{
		if ((offset+i) < Len_String)
		{
			dest[i]	= index_file[offset+i];
		}
		else
		{
			dest[i]=' ';
		}
	}
}
```

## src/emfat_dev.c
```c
/*
 * Copyright (c) 2016 Intel Corporation.
 *
 * SPDX-License-Identifier: Apache-2.0
 */

#include <string.h>
#include <zephyr/types.h>
#include <sys/__assert.h>
#include <drivers/disk.h>
#include <errno.h>
#include <init.h>
#include <device.h>
#include "emfat.h"

#define EMFATDISK_SECTOR_SIZE 512
#define EMFATDISK_VOLUME_SIZE (2048 * 512)


extern emfat_t emfat;


static int disk_emfat_access_status(struct disk_info *disk)
{
	return DISK_STATUS_OK;
}

static int disk_emfat_access_init(struct disk_info *disk)
{
	return 0;
}

static int disk_emfat_access_read(struct disk_info *disk, uint8_t *buff,
				uint32_t sector, uint32_t count)
{
	 emfat_read(&emfat, buff, sector, count);

	return 0;
}

static int disk_emfat_access_write(struct disk_info *disk, const uint8_t *buff,
				 uint32_t sector, uint32_t count)
{
		return 0;
}

static int disk_emfat_access_ioctl(struct disk_info *disk, uint8_t cmd, void *buff)
{
	switch (cmd) {
	case DISK_IOCTL_CTRL_SYNC:
		break;
	case DISK_IOCTL_GET_SECTOR_COUNT:
		*(uint32_t *)buff = EMFATDISK_VOLUME_SIZE / EMFATDISK_SECTOR_SIZE;
		break;
	case DISK_IOCTL_GET_SECTOR_SIZE:
		*(uint32_t *)buff = EMFATDISK_SECTOR_SIZE;
		break;
	case DISK_IOCTL_GET_ERASE_BLOCK_SZ:
		*(uint32_t *)buff  = 1U;
		break;
	default:
		return -EINVAL;
	}

	return 0;
}

static const struct disk_operations emfat_disk_ops = {
	.init = disk_emfat_access_init,
	.status = disk_emfat_access_status,
	.read = disk_emfat_access_read,
	.write = disk_emfat_access_write,
	.ioctl = disk_emfat_access_ioctl,
};

static struct disk_info emfat_disk = {
	.name = "EMFAT",
	.ops = &emfat_disk_ops,
};

static int disk_emfat_init(const struct device *dev)
{
	ARG_UNUSED(dev);

	return disk_access_register(&emfat_disk);
}

SYS_INIT(disk_emfat_init, APPLICATION, CONFIG_KERNEL_INIT_PRIORITY_DEFAULT);
```

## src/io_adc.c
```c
#include <drivers/adc.h>
#include <device.h>
#include <zephyr.h>
#include <drivers/uart.h>
#include <logging/log.h>
#include "io_adc.h"
#include "modbus_reg.h"
#include "measure_ntc.h"

LOG_MODULE_REGISTER(io_adc, LOG_LEVEL_INF);

//-----------------------------------------------------------------------
// variables
//-----------------------------------------------------------------------
extern uint16_t MBbuf_main[];
const struct device *dev_adc;

#if !DT_NODE_EXISTS(DT_ALIAS(msdz_adcs_t))
#error "No suitable devicetree overlay specified"
#endif

#define ADC_NUM_CHANNELS		DT_PROP_LEN(DT_ALIAS(msdz_adcs_t), msdz_adc_t_channels)
#define ADC_NODE_T				DT_PHANDLE(DT_ALIAS(msdz_adcs_t), msdz_adc_t_id)

/* Get the numbers of up to two channels */

#define PHANDLE_TO_DEVICE(node_id, prop, idx) \
     (DT_PROP_BY_IDX(node_id, prop, idx)),

static const uint8_t channel_ids[ADC_NUM_CHANNELS] = {
	DT_FOREACH_PROP_ELEM(DT_ALIAS(msdz_adcs_t), msdz_adc_t_channels, PHANDLE_TO_DEVICE)
};

static const uint8_t channel_seq[ADC_NUM_CHANNELS] = {
	DT_FOREACH_PROP_ELEM(DT_ALIAS(msdz_adcs_t), msdz_adc_t_sequence, PHANDLE_TO_DEVICE)
};
static int16_t sample_buffer[ADC_NUM_CHANNELS*NUMBER_ADC_MEASUREMENTS];

struct adc_channel_cfg channel_cfg = {
	.gain = ADC_GAIN,
	.reference = ADC_REFERENCE,
	.acquisition_time = ADC_ACQUISITION_TIME,
	/* channel ID will be overwritten below */
	.channel_id = 0,
	.differential = 0
};

struct adc_sequence_options sequence_options = {
	.extra_samplings = NUMBER_ADC_MEASUREMENTS-1,
};

struct adc_sequence sequence = {
	/* individual channels will be added below */
	.channels    = 0,
	.buffer      = sample_buffer,
	/* buffer size in bytes, not number of samples */
	.buffer_size = sizeof(sample_buffer)*NUMBER_ADC_MEASUREMENTS,
	.resolution  = ADC_RESOLUTION,
	.options = &sequence_options,
};

uint16_t ADC_Value_T[ADC_NUM_CHANNELS];

//-----------------------------------------------------------------------
// task
//-----------------------------------------------------------------------

static struct k_thread io_adc_read_data;

static k_tid_t io_adc_read_tid;

K_THREAD_STACK_DEFINE(io_adc_read_stack_area, IO_STACKSIZE);

//-----------------------------------------------------------------------
// function
//-----------------------------------------------------------------------
void io_adc_init (void)
{
	NTC_Calculation_Data_t NTC;

	NTC.NTC_r2=(MBbuf_main[Reg_NTC_R2_Value_W1]&0xFFFF)|((MBbuf_main[Reg_NTC_R2_Value_W2]&0xFFFF)<<16);
	NTC.NTC_r_divider=(MBbuf_main[Reg_NTC_R_Divider_W1]&0xFFFF)|((MBbuf_main[Reg_NTC_R_Divider_W2]&0xFFFF)<<16);
	NTC.NTC_adc_multipler=1;
	NTC.NTC_adc_resolution=ADC_COUNTS;
	NTC.NTC_b=(int16_t)MBbuf_main[Reg_NTC_B_Value];
	NTC.NTC_t2=(int16_t)MBbuf_main[Reg_NTC_T2_Value];
	NTC.NTC_start_temperature=(int16_t)MBbuf_main[Reg_NTC_Start_Temperature];
	NTC.NTC_step_temperature=(int16_t)MBbuf_main[Reg_NTC_Step_Temperature];
	NTC.NTC_temper_number_step=MBbuf_main[Reg_NTC_Temper_Number_Step];
	calculate_table_NTC(NTC);

	dev_adc = DEVICE_DT_GET(ADC_NODE_T);

	if (!device_is_ready(dev_adc)) 
	{
		LOG_INF("ADC device not found\n");
		return;
	}

	/*
	 * Configure channels individually prior to sampling
	 */
	for (uint8_t i = 0; i < ADC_NUM_CHANNELS; i++) 
	{
		channel_cfg.channel_id = channel_ids[i];
#ifdef CONFIG_ADC_NRFX_SAADC
		channel_cfg.input_positive = SAADC_CH_PSELP_PSELP_AnalogInput0
					     + channel_ids[i];
#endif

		adc_channel_setup(dev_adc, &channel_cfg);

		sequence.channels |= BIT(channel_ids[i]);
	}
	io_adc_read_tid = k_thread_create(&io_adc_read_data,
				    io_adc_read_stack_area,
				    K_THREAD_STACK_SIZEOF(io_adc_read_stack_area),
				    io_adc_task,
				    NULL, NULL, NULL,
				    IO_PRIORITY,
				    0, K_MSEC(10));
}

/**
 * @brief io_getADCval - calculate median value for `nch` channel
 * @param nch - number of channel
 * @return
 */
int16_t io_getADCval(int16_t nch)
{
    int16_t i, addr = nch;
#define PIX_SORT(a,b) { if ((a)>(b)) PIX_SWAP((a),(b)); }
#define PIX_SWAP(a,b) {register int16_t temp=(a);(a)=(b);(b)=temp; }
    int16_t p[9];
    for(i = 0; i < 9; ++i, addr += ADC_NUM_CHANNELS) // first we should prepare array for optmed
        p[i] = sample_buffer[addr];
    PIX_SORT(p[1], p[2]) ; PIX_SORT(p[4], p[5]) ; PIX_SORT(p[7], p[8]) ;
    PIX_SORT(p[0], p[1]) ; PIX_SORT(p[3], p[4]) ; PIX_SORT(p[6], p[7]) ;
    PIX_SORT(p[1], p[2]) ; PIX_SORT(p[4], p[5]) ; PIX_SORT(p[7], p[8]) ;
    PIX_SORT(p[0], p[3]) ; PIX_SORT(p[5], p[8]) ; PIX_SORT(p[4], p[7]) ;
    PIX_SORT(p[3], p[6]) ; PIX_SORT(p[1], p[4]) ; PIX_SORT(p[2], p[5]) ;
    PIX_SORT(p[4], p[7]) ; PIX_SORT(p[4], p[2]) ; PIX_SORT(p[6], p[4]) ;
    PIX_SORT(p[4], p[2]) ;
    return p[4];
#undef PIX_SORT
#undef PIX_SWAP
}

//-----------------------------------------------------------------------
// task
//-----------------------------------------------------------------------
void io_adc_task (void *arg1, void *arg2, void *arg3)
{
	int16_t Adc_Filter_Value[ADC_NUM_CHANNELS];
	int16_t ADC_Val;	
	int err, i;

	err = adc_read(dev_adc, &sequence);
	if (err != 0) 
	{
		LOG_INF("ADC reading failed with error %d.\n", err);
		return;
	}
    for(i = 0; i<ADC_NUM_CHANNELS;i++)
    {
    	ADC_Val=(int16_t)io_getADCval(i);
    	Adc_Filter_Value[i]=ADC_Val;
		ADC_Value_T[i] = calc_temperature(Adc_Filter_Value[i]);
		MBbuf_main[(channel_seq[i]+Reg_T_0_Channel)] = ADC_Value_T[i];
	}
	k_sleep(K_MSEC(ADC_PAUSE_MS));

    while (1) 
    {	
		err = adc_read(dev_adc, &sequence);
		if (err != 0) 
		{
			LOG_INF("ADC reading failed with error %d.\n", err);
			return;
		}
    	for(i = 0; i<ADC_NUM_CHANNELS;i++)
    	{
    		ADC_Val=(int16_t)io_getADCval(i);
			//LOG_INF("ADC reading %d: %d", (i+1), ADC_Val);
    		Adc_Filter_Value[i]=(Adc_Filter_Value[i]*3+ADC_Val)>>2;
			ADC_Value_T[i] = calc_temperature(Adc_Filter_Value[i]);
    		MBbuf_main[(channel_seq[i]+Reg_T_0_Channel)] = ADC_Value_T[i];
		}
		k_sleep(K_MSEC(ADC_PAUSE_MS));
	}
}
```

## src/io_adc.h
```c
#ifndef IO_ADC_H_INCLUDED
#define IO_ADC_H_INCLUDED

#define IO_STACKSIZE                2048
#define IO_PRIORITY                 K_PRIO_COOP(0)
#define NUMBER_ADC_MEASUREMENTS     9
#define ADC_PAUSE_MS                1000
  
/* Common settings supported by most ADCs */
#define ADC_RESOLUTION			12
#define ADC_GAIN				ADC_GAIN_1_4
#define ADC_REFERENCE			ADC_REF_VDD_1_4
#define ADC_ACQUISITION_TIME	ADC_ACQ_TIME_DEFAULT
#define ADC_COUNTS  			(1<<ADC_RESOLUTION)


void io_adc_init (void);
void io_adc_task (void *arg1, void *arg2, void *arg3);
int16_t io_getADCval(int16_t nch);
#endif /* IO_ADC_H_INCLUDED */
```

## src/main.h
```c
#ifndef MAIN_H
#define MAIN_H

//-----------------------------------------------------------------------
// define
//-----------------------------------------------------------------------

#define VERSION                             101    //1.01
#define SIZE_NTC_TABLE                      166
 
#define TEMPERATURE_SENSOR_ENDPOINT         10

#define MAIN_STACKSIZE                      2048
#define MAIN_PRIORITY                       -1

// Reg_Zigbee_Set_Mode bit register
#define  ZI_SET_MODE_BIT_SET_FICR_ADDR      1
#define  ZI_SET_MODE_BIT_SET_CODE           2
#define  ZI_SET_MODE_BIT_DEFAULT            ZI_SET_MODE_BIT_SET_CODE

//Reg_Zigbee_Wait_Time_S
#define  ZI_SET_WAIT_TIME_S_DEFAULT         10

#define TIME_BETWEEN_NEXT_CONNECTION_MS     5000 
#define MAX_SENSOR_IN_ROUTER                16    //from router

//Reg_Zigbee_Set_Channel
#define  ZI_SET_CHANNEL_DEFAULT             16

//delay start and reset
#define DELAY_FOR_POWER_TEST_MS             2500
#define DELAY_AFTER_POWER_TEST_MS           10000

#undef  ZB_DEV_REJOIN_TIMEOUT_MS
#define ZB_DEV_REJOIN_TIMEOUT_MS            200000

#define DELAY_TOTAL_ZI_RECONNECT_MS         ((ZB_DEV_REJOIN_TIMEOUT_MS+20000))

//Command
#define CODE_RESET_ZIGBEE_DATA              122
#define CODE_RESET_TO_DEFAULT               13
#define CODE_RESTART                        14
#define CODE_CONNECT_BUTTON                 15
#define CODE_HARD_RESET_STACK               155


#define WDT_MAX_WINDOW                      9000U

//-----------------------------------------------------------------------
// prototype
//-----------------------------------------------------------------------
void com_task (void *arg1, void *arg2, void *arg3);

#endif //MAIN_H
```

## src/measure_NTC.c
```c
/*
 * Measure_NTC.c
 *
 *  Created on: 27 мая 2019 г.
 *      Author: a.litvin
 */

#include <measure_NTC.h>

/*
  NTCCALUG02A502G; ADC 12bit:
     R1(T1): 5кОм(25°С)
     R2(T2): 0.5331кОм(85°С)
     Ra: 5.1кОм
     Напряжения U0/Uref: 3.3В/3.3В
    диапазон -10..125, шаг 1
*/

//-----------------------------------------------------------------------
// variable
//-----------------------------------------------------------------------
static temperature_table_entry_type termo_table[TEMPERATURE_TABLE_SIZE];
NTC_Calculation_Data_t NTC_Parametr;
//calculation example:
//test=20000*exp(3977/263.15-3977/298.15);
//test_2=(8*test*1024)/((20000+test));

//-----------------------------------------------------------------------
// function
//-----------------------------------------------------------------------

void calculate_table_NTC (NTC_Calculation_Data_t NTC_Data)
{
    uint32_t i;
    float  r_Value, Temp_t1, Temp_t2;
    memcpy(&NTC_Parametr, &NTC_Data, sizeof(NTC_Calculation_Data_t));
    Temp_t2=(float) NTC_Parametr.NTC_t2+273.15;

    if (NTC_Parametr.NTC_temper_number_step>TEMPERATURE_TABLE_SIZE)
    {
        NTC_Parametr.NTC_temper_number_step = TEMPERATURE_TABLE_SIZE;
    }

    for (i=0; i <  NTC_Parametr.NTC_temper_number_step; i++)
    {
        Temp_t1=(((float)NTC_Parametr.NTC_start_temperature+(float)i*(float)NTC_Parametr.NTC_step_temperature))+273.15;
        r_Value=((float)NTC_Parametr.NTC_r2*exp(((float)NTC_Parametr.NTC_b/Temp_t1)-((float)NTC_Parametr.NTC_b/Temp_t2)));
        termo_table[i] = (temperature_table_entry_type)((r_Value*(float)NTC_Parametr.NTC_adc_multipler*(float)NTC_Parametr.NTC_adc_resolution*2+r_Value+(float)NTC_Parametr.NTC_r_divider)/
                     (2*(r_Value + (float)NTC_Parametr.NTC_r_divider)));
    }
}

int16_t calc_temperature(temperature_table_entry_type adcsum) 
{
    temperature_table_index_type l = 0;
    temperature_table_index_type r = ( NTC_Parametr.NTC_temper_number_step) - 1;
    temperature_table_entry_type thigh = TEMPERATURE_TABLE_READ(r);
    int32_t TEMPERATURE_TABLE_START_RATE;
    int32_t TEMPERATURE_TABLE_STEP_RATE;

    TEMPERATURE_TABLE_START_RATE = NTC_Parametr.NTC_start_temperature;
    TEMPERATURE_TABLE_STEP_RATE = NTC_Parametr.NTC_step_temperature;

    if (adcsum <= thigh) 
    {
        if (adcsum < thigh)
        {
            return TEMPERATURE_OVER;
        }
        return (TEMPERATURE_TABLE_STEP_RATE * r + TEMPERATURE_TABLE_START_RATE);
    }
    temperature_table_entry_type tlow = TEMPERATURE_TABLE_READ(0);
    if (adcsum >= tlow) 
    {

        if (adcsum > tlow)
            return TEMPERATURE_UNDER;

        return TEMPERATURE_TABLE_START_RATE;
    }
    
    while ((r - l) > 1) 
    {
        temperature_table_index_type m = (l + r) >> 1;
        temperature_table_entry_type mid = TEMPERATURE_TABLE_READ(m);
        if (adcsum > mid) 
        {
            r = m;
        } 
        else 
        {
        l = m;
        }
    }
    temperature_table_entry_type vl = TEMPERATURE_TABLE_READ(l);
    if (adcsum >= vl) 
    {
        return (l * TEMPERATURE_TABLE_STEP_RATE + TEMPERATURE_TABLE_START_RATE);
    }
    temperature_table_entry_type vr = TEMPERATURE_TABLE_READ(r);
    temperature_table_entry_type vd = vl - vr;
    int16_t res = TEMPERATURE_TABLE_START_RATE + r * TEMPERATURE_TABLE_STEP_RATE;
    if (vd) 
    {
        res -= ((TEMPERATURE_TABLE_STEP_RATE * (int32_t)(adcsum - vr) + (vd >> 1)) / vd);
    }
    return res;
}
```

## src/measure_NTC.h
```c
/*
 * Measure_NTC.h
 *
 *  Created on: 27 мая 2019 г.
 *      Author: a.litvin
 */

#ifndef MEASURE_NTC_H_INCLUDED
#define MEASURE_NTC_H_INCLUDED

#include <stdint.h>
#include <string.h>
#include "math.h"
#include "main.h"

//-----------------------------------------------------------------------
// define
//-----------------------------------------------------------------------
// Значение температуры, возвращаемое если сумма результатов АЦП больше первого значения таблицы
#define TEMPERATURE_UNDER 		        0x7001
// Значение температуры, возвращаемое если сумма результатов АЦП меньше последнего значения таблицы
#define TEMPERATURE_OVER 		        0x7002
#define TEMPERATURE_NO_MEASURE 	        0x7004
#define TEMPERATURE_ERROR_LABEL	        0x7000
#define TEMPERATURE_ERROR_MASK          0xF000

#define TEMPERATURE_TABLE_SIZE  		SIZE_NTC_TABLE
#define TEMPERATURE_TABLE_READ(i) 		(termo_table[i])


typedef uint16_t temperature_table_entry_type;
typedef uint8_t temperature_table_index_type;

typedef struct
{
    uint32_t            NTC_r2;						//sensor data
    int16_t             NTC_b;						//sensor data
    int16_t             NTC_t2;						//sensor data
    uint32_t            NTC_r_divider;				//R in device
    int16_t             NTC_start_temperature;
    int16_t             NTC_step_temperature;
    uint16_t            NTC_temper_number_step;
    uint16_t            NTC_adc_resolution;
    uint16_t            NTC_adc_multipler;
} NTC_Calculation_Data_t;

//-----------------------------------------------------------------------
// prototype
//-----------------------------------------------------------------------
int16_t calc_temperature(temperature_table_entry_type adcsum) ;
void calculate_table_NTC (NTC_Calculation_Data_t NTC_Data);

#endif /* MEASURE_NTC_H_INCLUDED */
```

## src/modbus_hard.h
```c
#ifndef MODBUS_HARD_H_INCLUDED
#define MODBUS_HARD_H_INCLUDED

#include "modbus.h"

#define MB_STACKSIZE                    2048
#define MB_PRIORITY                     -2

#define DELAY_AFTER_EEPROM_WRITE_MS     1500

typedef struct {					
	uint32_t        kernel_data;
    mb_struct       MB_data;
} mb_queue_struct;

void mh_Write_Eeprom (void *mbb);
void mh_USB_Transmit_Start (void *mbb);
void mh_task_Modbus (void *arg1, void *arg2, void *arg3);
void mh_usb_init (void);
void mh_Factory (void);
void mh_Buf_Init (void);

#endif /* MODBUS_HARD_H_INCLUDED */
```
